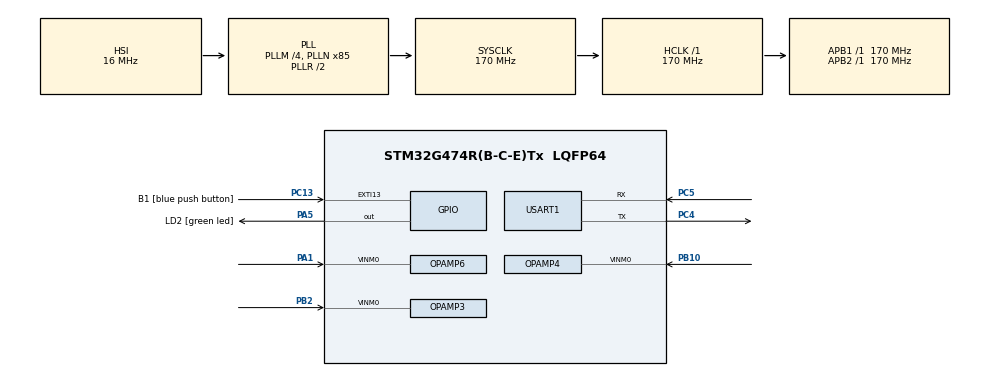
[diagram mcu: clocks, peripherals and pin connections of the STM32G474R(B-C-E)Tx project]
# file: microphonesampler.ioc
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ADC3.Channel-1\#ChannelRegularConversion=ADC_CHANNEL_VOPAMP3_ADC3
ADC3.DMAContinuousRequests=ENABLE
ADC3.ExternalTrigConv=ADC_EXTERNALTRIG_T7_TRGO
ADC3.ExternalTrigConvEdge=ADC_EXTERNALTRIGCONVEDGE_RISINGFALLING
ADC3.NbrOfConversionFlag=1
ADC3.OffsetNumber-1\#ChannelRegularConversion=ADC_OFFSET_NONE
ADC3.OversamplingMode=ENABLE
ADC3.Rank-1\#ChannelRegularConversion=1
ADC3.SamplingTime-1\#ChannelRegularConversion=ADC_SAMPLETIME_2CYCLES_5
ADC3.master=1
ADC4.Channel-2\#ChannelRegularConversion=ADC_CHANNEL_VOPAMP6
ADC4.DMAContinuousRequests=ENABLE
ADC4.ExternalTrigConv=ADC_EXTERNALTRIG_T7_TRGO
ADC4.ExternalTrigConvEdge=ADC_EXTERNALTRIGCONVEDGE_RISINGFALLING
ADC4.NbrOfConversionFlag=1
ADC4.OffsetNumber-2\#ChannelRegularConversion=ADC_OFFSET_NONE
ADC4.OversamplingMode=ENABLE
ADC4.Rank-2\#ChannelRegularConversion=1
ADC4.SamplingTime-2\#ChannelRegularConversion=ADC_SAMPLETIME_2CYCLES_5
ADC5.Channel-5\#ChannelRegularConversion=ADC_CHANNEL_VOPAMP4
ADC5.DMAContinuousRequests=ENABLE
ADC5.ExternalTrigConv=ADC_EXTERNALTRIG_T7_TRGO
ADC5.ExternalTrigConvEdge=ADC_EXTERNALTRIGCONVEDGE_RISINGFALLING
ADC5.NbrOfConversionFlag=1
ADC5.OffsetNumber-5\#ChannelRegularConversion=ADC_OFFSET_NONE
ADC5.OversamplingMode=ENABLE
ADC5.Rank-5\#ChannelRegularConversion=1
ADC5.SamplingTime-5\#ChannelRegularConversion=ADC_SAMPLETIME_2CYCLES_5
DAC3.DAC_Channel-DAC_OUT2_Int=DAC_CHANNEL_2
Dma.ADC3.0.Direction=DMA_PERIPH_TO_MEMORY
Dma.ADC3.0.EventEnable=DISABLE
Dma.ADC3.0.Instance=DMA1_Channel1
Dma.ADC3.0.MemDataAlignment=DMA_MDATAALIGN_WORD
Dma.ADC3.0.MemInc=DMA_MINC_ENABLE
Dma.ADC3.0.Mode=DMA_CIRCULAR
Dma.ADC3.0.PeriphDataAlignment=DMA_PDATAALIGN_HALFWORD
Dma.ADC3.0.PeriphInc=DMA_PINC_DISABLE
Dma.ADC3.0.Polarity=HAL_DMAMUX_REQ_GEN_RISING
Dma.ADC3.0.Priority=DMA_PRIORITY_LOW
Dma.ADC3.0.RequestNumber=1
Dma.ADC3.0.SignalID=NONE
Dma.ADC3.0.SyncEnable=DISABLE
Dma.ADC3.0.SyncPolarity=HAL_DMAMUX_SYNC_NO_EVENT
Dma.ADC3.0.SyncRequestNumber=1
Dma.ADC3.0.SyncSignalID=NONE
Dma.ADC4.1.Direction=DMA_PERIPH_TO_MEMORY
Dma.ADC4.1.EventEnable=DISABLE
Dma.ADC4.1.Instance=DMA1_Channel2
Dma.ADC4.1.MemDataAlignment=DMA_MDATAALIGN_WORD
Dma.ADC4.1.MemInc=DMA_MINC_ENABLE
Dma.ADC4.1.Mode=DMA_CIRCULAR
Dma.ADC4.1.PeriphDataAlignment=DMA_PDATAALIGN_HALFWORD
Dma.ADC4.1.PeriphInc=DMA_PINC_DISABLE
Dma.ADC4.1.Polarity=HAL_DMAMUX_REQ_GEN_RISING
Dma.ADC4.1.Priority=DMA_PRIORITY_LOW
Dma.ADC4.1.RequestNumber=1
Dma.ADC4.1.SignalID=NONE
Dma.ADC4.1.SyncEnable=DISABLE
Dma.ADC4.1.SyncPolarity=HAL_DMAMUX_SYNC_NO_EVENT
Dma.ADC4.1.SyncRequestNumber=1
Dma.ADC4.1.SyncSignalID=NONE
Dma.ADC5.2.Direction=DMA_PERIPH_TO_MEMORY
Dma.ADC5.2.EventEnable=DISABLE
Dma.ADC5.2.Instance=DMA1_Channel3
Dma.ADC5.2.MemDataAlignment=DMA_MDATAALIGN_WORD
Dma.ADC5.2.MemInc=DMA_MINC_ENABLE
Dma.ADC5.2.Mode=DMA_CIRCULAR
Dma.ADC5.2.PeriphDataAlignment=DMA_PDATAALIGN_HALFWORD
Dma.ADC5.2.PeriphInc=DMA_PINC_DISABLE
Dma.ADC5.2.Polarity=HAL_DMAMUX_REQ_GEN_RISING
Dma.ADC5.2.Priority=DMA_PRIORITY_LOW
Dma.ADC5.2.RequestNumber=1
Dma.ADC5.2.SignalID=NONE
Dma.ADC5.2.SyncEnable=DISABLE
Dma.ADC5.2.SyncPolarity=HAL_DMAMUX_SYNC_NO_EVENT
Dma.ADC5.2.SyncRequestNumber=1
Dma.ADC5.2.SyncSignalID=NONE
Dma.Request0=ADC3
Dma.Request1=ADC4
Dma.Request2=ADC5
Mcu.Family=STM32G4
Mcu.Name=STM32G474R(B-C-E)Tx
Mcu.Package=LQFP64
NVIC.DMA1_Channel1_IRQn=true\:0\:0\:false\:false\:true\:false\:true\:true
NVIC.DMA1_Channel2_IRQn=true\:0\:0\:false\:false\:true\:false\:true\:true
NVIC.DMA1_Channel3_IRQn=true\:0\:0\:false\:false\:true\:false\:true\:true
NVIC.EXTI15_10_IRQn=true\:0\:0\:false\:false\:true\:true\:true\:true
NVIC.PriorityGroup=NVIC_PRIORITYGROUP_4
PA1.Mode=PGA_Connected-INVERTINGINPUT_IO0_BIAS-DAC_OUT1-INP_Output_internal
PA1.Signal=OPAMP6_VINM0
PA13.GPIO_Label=T_SWDIO
PA13.Mode=Serial_Wire
PA13.Signal=SYS_JTMS-SWDIO
PA14.GPIO_Label=T_SWCLK
PA14.Mode=Serial_Wire
PA14.Signal=SYS_JTCK-SWCLK
PA2.GPIO_Label=LPUART1_TX [STLINKV3E_VCP_RX]
PA2.Signal=LPUART1_TX
PA3.Signal=LPUART1_RX
PA5.GPIO_Label=LD2 [green led]
PA5.Signal=GPIO_Output
PB10.Mode=PGA_Connected-INVERTINGINPUT_IO0_BIAS-DAC_OUT1-INP_Output_internal
PB10.Signal=OPAMP4_VINM0
PB2.Mode=PGA_Connected-INVERTINGINPUT_IO0_BIAS-DAC_OUT2-INP_Output_internal
PB2.Signal=OPAMP3_VINM0
PB3.GPIO_Label=T_SWO
PB3.Signal=SYS_JTDO-SWO
PC13.GPIO_Label=B1 [blue push button]
PC13.Signal=GPXTI13
PC14-OSC32_IN.Mode=LSE-External-Oscillator
PC14-OSC32_IN.Signal=RCC_OSC32_IN
PC15-OSC32_OUT.Mode=LSE-External-Oscillator
PC15-OSC32_OUT.Signal=RCC_OSC32_OUT
PC4.Mode=Asynchronous
PC4.Signal=USART1_TX
PC5.Mode=Asynchronous
PC5.Signal=USART1_RX
PF0-OSC_IN.Mode=HSE-External-Oscillator
PF0-OSC_IN.Signal=RCC_OSC_IN
PF1-OSC_OUT.Mode=HSE-External-Oscillator
PF1-OSC_OUT.Signal=RCC_OSC_OUT
ProjectManager.HeapSize=0x200
ProjectManager.StackSize=0x400
ProjectManager.TargetToolchain=STM32CubeIDE
RCC.ADC12Freq_Value=170000000
RCC.ADC345Freq_Value=170000000
RCC.AHBFreq_Value=170000000
RCC.APB1Freq_Value=170000000
RCC.APB1TimFreq_Value=170000000
RCC.APB2Freq_Value=170000000
RCC.APB2TimFreq_Value=170000000
RCC.CortexFreq_Value=170000000
RCC.EXTERNAL_CLOCK_VALUE=12288000
RCC.HCLKFreq_Value=170000000
RCC.HSE_VALUE=24000000
RCC.HSI48_VALUE=48000000
RCC.HSI_VALUE=16000000
RCC.PLLM=RCC_PLLM_DIV4
RCC.PLLN=85
RCC.RTCClockSelection=RCC_RTCCLKSOURCE_LSE
RCC.SYSCLKFreq_VALUE=170000000
RCC.SYSCLKSource=RCC_SYSCLKSOURCE_PLLCLK
RCC.USBFreq_Value=170000000
RCC.VCOOutputFreq_Value=340000000
TIM6.Prescaler=170 - 1
TIM7.PeriodNoDither=500 - 1
TIM7.Prescaler=10 - 1
TIM7.TIM_MasterOutputTrigger=TIM_TRGO_UPDATE
USART1.VirtualMode-Asynchronous=VM_ASYNC
VP_ADC3_OPAMP_INTERNAL3.Mode=IN-OPAMP3
VP_ADC4_OPAMP_INTERNAL6.Mode=IN-OPAMP6
VP_ADC5_OPAMP_INTERNAL4.Mode=IN-OPAMP4
VP_DAC3_VS_DACI1.Mode=DAC_OUT1_Int
VP_DAC3_VS_DACI2.Mode=DAC_OUT2_Int
VP_DAC4_VS_DACI1.Mode=DAC_OUT1_Int
VP_SYS_VS_DBSignals.Mode=DisableDeadBatterySignals
VP_TIM6_VS_ClockSourceINT.Mode=Enable_Timer
VP_TIM7_VS_ClockSourceINT.Mode=Enable_Timer
board=NUCLEO-G474RE

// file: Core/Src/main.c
/* USER CODE BEGIN Header */
/**
  ******************************************************************************
  * @file           : main.c
  * @brief          : Main program body
  ******************************************************************************
  * @attention
  *
  * Copyright (c) 2023 STMicroelectronics.
  * All rights reserved.
  *
  * This software is licensed under terms that can be found in the LICENSE file
  * in the root directory of this software component.
  * If no LICENSE file comes with this software, it is provided AS-IS.
  *
  ******************************************************************************
  */
/* USER CODE END Header */
#include "main.h"

/* USER CODE BEGIN Includes */
#include "stdio.h"
#include "stdbool.h"
#include "stdint.h"
#include "stdlib.h"

#include "math.h"
#include "complex.h"

#include "arm_math.h"
#include "arm_const_structs.h"

#include "LinearAlgebra/declareFunctions.h"

//#include "bandpass.h"

/* USER CODE END Includes */

/* USER CODE BEGIN PD */
#define buffer_size 4096
#define signal_size 4096
#define processing_length 1024
#define fs 125000

/* USER CODE END PD */

/* USER CODE BEGIN PM */
#define REAL(z,i) ((z)[2*(i)])
#define IMAG(z,i) ((z)[2*(i)+1])

const int n = signal_size;

/* USER CODE END PM */

ADC_HandleTypeDef hadc3;
ADC_HandleTypeDef hadc4;
ADC_HandleTypeDef hadc5;
DMA_HandleTypeDef hdma_adc3;
DMA_HandleTypeDef hdma_adc4;
DMA_HandleTypeDef hdma_adc5;

DAC_HandleTypeDef hdac3;
DAC_HandleTypeDef hdac4;

OPAMP_HandleTypeDef hopamp3;
OPAMP_HandleTypeDef hopamp4;
OPAMP_HandleTypeDef hopamp6;

TIM_HandleTypeDef htim6;
TIM_HandleTypeDef htim7;

UART_HandleTypeDef huart1;

/* USER CODE BEGIN PV */
uint32_t adc_3_buffer[buffer_size];
uint32_t adc_4_buffer[buffer_size];
uint32_t adc_5_buffer[buffer_size];

uint16_t sample1[buffer_size];
uint16_t sample2[buffer_size];
uint16_t sample3[buffer_size];

uint32_t start, end, dt = 0;
int gt = 0;

uint16_t valadc_1, valadc_2, valadc_3;
uint16_t valdac_1 = 2048;
uint16_t valdac_2 = 2048;
uint16_t valdac_3 = 2048;

int found_index_1 = -1;
int found_index_2 = -1;
int found_index_3 = -1;

uint64_t count = 0;
double avgtime = 0;

char dma_result_buffer[20];

int adc3_current = 0;
int adc4_current = 0;
int adc5_current = 0;

/* USER CODE END PV */

void SystemClock_Config(void);
static void MX_GPIO_Init(void);
static void MX_DMA_Init(void);
static void MX_TIM7_Init(void);
static void MX_TIM6_Init(void);
static void MX_DAC3_Init(void);
static void MX_DAC4_Init(void);
static void MX_OPAMP4_Init(void);
static void MX_OPAMP6_Init(void);
static void MX_ADC5_Init(void);
static void MX_ADC4_Init(void);
static void MX_ADC3_Init(void);
static void MX_OPAMP3_Init(void);
static void MX_USART1_UART_Init(void);

/* USER CODE BEGIN 0 */

arm_rfft_fast_instance_f32 discrete_fourier_transform;
float32_t fft_input[processing_length];
float32_t fft_output[processing_length];

float32_t peakVal;
float32_t peakFreq;
int peakEntry;

float32_t current_val;
float32_t current_freq;
float32_t avg_val;
int freq_count;

bool finished_1 = true;
bool finished_2 = true;
bool finished_3 = true;

int success = 0;
bool found = false;

int missed_samples = 0;

/* USER CODE END 0 */

int main(void)
{
  /* USER CODE BEGIN 1 */
  arm_rfft_fast_init_f32(&discrete_fourier_transform, processing_length);
  //start = htim6.Instance->CNT;

  /* USER CODE END 1 */

  /* MCU Configuration--------------------------------------------------------*/

  /* Reset of all peripherals, Initializes the Flash interface and the Systick. */
  HAL_Init();

  /* Configure the system clock */
  SystemClock_Config();

  /* Initialize all configured peripherals */
  MX_GPIO_Init();
  MX_DMA_Init();
  MX_TIM7_Init();
  MX_TIM6_Init();
  MX_DAC3_Init();
  MX_DAC4_Init();
  MX_OPAMP4_Init();
  MX_OPAMP6_Init();
  MX_ADC5_Init();
  MX_ADC4_Init();
  MX_ADC3_Init();
  MX_OPAMP3_Init();
  MX_USART1_UART_Init();
  /* USER CODE BEGIN 2 */

  HAL_DAC_Start(&hdac3, DAC_CHANNEL_1);
  HAL_OPAMP_Start(&hopamp6);

  HAL_DAC_Start(&hdac3, DAC_CHANNEL_2);
  HAL_OPAMP_Start(&hopamp3);

  HAL_DAC_Start(&hdac4, DAC_CHANNEL_1);
  HAL_OPAMP_Start(&hopamp4);

  HAL_ADCEx_Calibration_Start(&hadc3,ADC_SINGLE_ENDED);
  HAL_ADC_Start_DMA(&hadc3, adc_3_buffer, buffer_size);

  HAL_ADCEx_Calibration_Start(&hadc4,ADC_SINGLE_ENDED);
  HAL_ADC_Start_DMA(&hadc4, adc_4_buffer, buffer_size);

  HAL_ADCEx_Calibration_Start(&hadc5,ADC_SINGLE_ENDED);
  HAL_ADC_Start_DMA(&hadc5, adc_5_buffer, buffer_size);

  HAL_TIM_Base_Start(&htim7);
  HAL_TIM_Base_Start(&htim6);

  /* USER CODE END 2 */

  /* Infinite loop */
  while (1)
  {
	  /* USER CODE END WHILE */
	    HAL_DAC_SetValue(&hdac3, DAC_CHANNEL_1, DAC_ALIGN_12B_R, valdac_1);
	    HAL_DAC_SetValue(&hdac3, DAC_CHANNEL_2, DAC_ALIGN_12B_R, valdac_2);
	    HAL_DAC_SetValue(&hdac4, DAC_CHANNEL_1, DAC_ALIGN_12B_R, valdac_3);

	    if(finished_1 || finished_2 || finished_3){
	      continue;
	    }

	    if(count < 30){
	      finished_1 = true;
	      finished_2 = true;
	      finished_3 = true;
	      continue;
	    }

	    found = false;

	    if(adc3_current == adc4_current && adc3_current == adc5_current){
	    	valadc_1 = sample1[0];
	    	valadc_2 = sample2[0];
	    	valadc_3 = sample3[0];

	    	//Check for frequency of interest in first buffer
	    	//Check in 128-sample increments
	    	for(int i = 0 ; i < buffer_size / processing_length ; i++){
	    		for(int j = 0 ; j < processing_length ; j++){
	    			fft_input[j] = (float32_t) sample1[processing_length * i + j] / 8192.;
	    		}
	    		arm_rfft_fast_f32(&discrete_fourier_transform, fft_input, fft_output, 0);

	    		peakVal = 0;
	    		peakFreq = 0;
	    		freq_count = 0;
	    		avg_val = 0;

	    		//Peak finding
	    		for(int j = 0 ; j < processing_length ; j += 2){
	    			current_freq = (float) (fs * j) / (float) (2 * processing_length) ;
	    			if(current_freq < 8750){
	    				continue;
	    			}

	    			current_val = sqrtf( pow( fft_output[j] , 2. ) + pow( fft_output[j + 1], 2. ) );
	    			avg_val += current_val;
	    			freq_count++;

	    			if(current_val > peakVal){
	    				peakVal = current_val;
	    				peakFreq = current_freq;
	    				peakEntry = j;
	    			}
	    		}

	    		avg_val /= (float) freq_count;

	    		if(peakVal >= 6 && peakFreq > 8750){
	    			//Contains peak sound signal
	    			found = true;
	    			snprintf(dma_result_buffer, 20, "start\r\n");
	    			HAL_UART_Transmit(&huart1, (uint8_t *) dma_result_buffer, sizeof(dma_result_buffer), HAL_MAX_DELAY);
	    			for(int j = 0 ; j < processing_length ; j++){
	    				snprintf(dma_result_buffer, 20, "%.4d %.4d %.4d\r\n", sample1[processing_length * i + j], sample2[processing_length * i + j], sample3[processing_length * i + j]);
	    				HAL_UART_Transmit(&huart1, (uint8_t *) dma_result_buffer, sizeof(dma_result_buffer), HAL_MAX_DELAY);
	    			}

	    			snprintf(dma_result_buffer, 20, "end\r\n");
	    			HAL_UART_Transmit(&huart1, (uint8_t *) dma_result_buffer, sizeof(dma_result_buffer), HAL_MAX_DELAY);

	    			success++;
	    			break;
	    		}
	    	}

	    } else {
	      continue;
	    }

	    /*snprintf(dma_result_buffer, 110, "%.10e %.10e %.10e %.10e %.10e %.10e\r\n", creal(R[0][0]), cimag(R[0][0]), creal(R[0][1]), cimag(R[0][1]), creal(R[0][2]), cimag(R[0][2]));
	    HAL_UART_Transmit(&huart1, (uint8_t *) dma_result_buffer, sizeof(dma_result_buffer), HAL_MAX_DELAY);

	    snprintf(dma_result_buffer, 110, "%.10e %.10e %.10e %.10e %.10e %.10e\r\n", creal(R[1][0]), cimag(R[1][0]), creal(R[1][1]), cimag(R[1][1]), creal(R[1][2]), cimag(R[1][2]));
	    HAL_UART_Transmit(&huart1, (uint8_t *) dma_result_buffer, sizeof(dma_result_buffer), HAL_MAX_DELAY);

	    snprintf(dma_result_buffer, 110, "%.10e %.10e %.10e %.10e %.10e %.10e\r\n", creal(R[2][0]), cimag(R[2][0]), creal(R[2][1]), cimag(R[2][1]), creal(R[2][2]), cimag(R[2][2]));
	    HAL_UART_Transmit(&huart1, (uint8_t *) dma_result_buffer, sizeof(dma_result_buffer), HAL_MAX_DELAY);*/

	    finished_1 = true;
	    finished_2 = true;
	    finished_3 = true;

  }
}

void SystemClock_Config(void)
{
  RCC_OscInitTypeDef RCC_OscInitStruct = {0};
  RCC_ClkInitTypeDef RCC_ClkInitStruct = {0};

  /** Configure the main internal regulator output voltage
  */
  HAL_PWREx_ControlVoltageScaling(PWR_REGULATOR_VOLTAGE_SCALE1_BOOST);

  /** Initializes the RCC Oscillators according to the specified parameters
  * in the RCC_OscInitTypeDef structure.
  */
  RCC_OscInitStruct.OscillatorType = RCC_OSCILLATORTYPE_HSI;
  RCC_OscInitStruct.HSIState = RCC_HSI_ON;
  RCC_OscInitStruct.HSICalibrationValue = RCC_HSICALIBRATION_DEFAULT;
  RCC_OscInitStruct.PLL.PLLState = RCC_PLL_ON;
  RCC_OscInitStruct.PLL.PLLSource = RCC_PLLSOURCE_HSI;
  RCC_OscInitStruct.PLL.PLLM = RCC_PLLM_DIV4;
  RCC_OscInitStruct.PLL.PLLN = 85;
  RCC_OscInitStruct.PLL.PLLP = RCC_PLLP_DIV2;
  RCC_OscInitStruct.PLL.PLLQ = RCC_PLLQ_DIV2;
  RCC_OscInitStruct.PLL.PLLR = RCC_PLLR_DIV2;
  if (HAL_RCC_OscConfig(&RCC_OscInitStruct) != HAL_OK)
  {
    Error_Handler();
  }

  /** Initializes the CPU, AHB and APB buses clocks
  */
  RCC_ClkInitStruct.ClockType = RCC_CLOCKTYPE_HCLK|RCC_CLOCKTYPE_SYSCLK
                              |RCC_CLOCKTYPE_PCLK1|RCC_CLOCKTYPE_PCLK2;
  RCC_ClkInitStruct.SYSCLKSource = RCC_SYSCLKSOURCE_PLLCLK;
  RCC_ClkInitStruct.AHBCLKDivider = RCC_SYSCLK_DIV1;
  RCC_ClkInitStruct.APB1CLKDivider = RCC_HCLK_DIV1;
  RCC_ClkInitStruct.APB2CLKDivider = RCC_HCLK_DIV1;

  if (HAL_RCC_ClockConfig(&RCC_ClkInitStruct, FLASH_LATENCY_4) != HAL_OK)
  {
    Error_Handler();
  }
}

static void MX_ADC3_Init(void)
{

  ADC_MultiModeTypeDef multimode = {0};
  ADC_ChannelConfTypeDef sConfig = {0};

  /** Common config
  */
  hadc3.Instance = ADC3;
  hadc3.Init.ClockPrescaler = ADC_CLOCK_SYNC_PCLK_DIV4;
  hadc3.Init.Resolution = ADC_RESOLUTION_12B;
  hadc3.Init.DataAlign = ADC_DATAALIGN_RIGHT;
  hadc3.Init.GainCompensation = 0;
  hadc3.Init.ScanConvMode = ADC_SCAN_DISABLE;
  hadc3.Init.EOCSelection = ADC_EOC_SINGLE_CONV;
  hadc3.Init.LowPowerAutoWait = DISABLE;
  hadc3.Init.ContinuousConvMode = DISABLE;
  hadc3.Init.NbrOfConversion = 1;
  hadc3.Init.DiscontinuousConvMode = DISABLE;
  hadc3.Init.ExternalTrigConv = ADC_EXTERNALTRIG_T7_TRGO;
  hadc3.Init.ExternalTrigConvEdge = ADC_EXTERNALTRIGCONVEDGE_RISINGFALLING;
  hadc3.Init.DMAContinuousRequests = ENABLE;
  hadc3.Init.Overrun = ADC_OVR_DATA_PRESERVED;
  hadc3.Init.OversamplingMode = ENABLE;
  hadc3.Init.Oversampling.Ratio = ADC_OVERSAMPLING_RATIO_2;
  hadc3.Init.Oversampling.RightBitShift = ADC_RIGHTBITSHIFT_NONE;
  hadc3.Init.Oversampling.TriggeredMode = ADC_TRIGGEREDMODE_SINGLE_TRIGGER;
  hadc3.Init.Oversampling.OversamplingStopReset = ADC_REGOVERSAMPLING_CONTINUED_MODE;
  if (HAL_ADC_Init(&hadc3) != HAL_OK)
  {
    Error_Handler();
  }

  /** Configure the ADC multi-mode
  */
  multimode.Mode = ADC_MODE_INDEPENDENT;
  if (HAL_ADCEx_MultiModeConfigChannel(&hadc3, &multimode) != HAL_OK)
  {
    Error_Handler();
  }

  /** Configure Regular Channel
  */
  sConfig.Channel = ADC_CHANNEL_VOPAMP3_ADC3;
  sConfig.Rank = ADC_REGULAR_RANK_1;
  sConfig.SamplingTime = ADC_SAMPLETIME_2CYCLES_5;
  sConfig.SingleDiff = ADC_SINGLE_ENDED;
  sConfig.OffsetNumber = ADC_OFFSET_NONE;
  sConfig.Offset = 0;
  if (HAL_ADC_ConfigChannel(&hadc3, &sConfig) != HAL_OK)
  {
    Error_Handler();
  }

}

static void MX_ADC4_Init(void)
{

  ADC_ChannelConfTypeDef sConfig = {0};

  /** Common config
  */
  hadc4.Instance = ADC4;
  hadc4.Init.ClockPrescaler = ADC_CLOCK_SYNC_PCLK_DIV4;
  hadc4.Init.Resolution = ADC_RESOLUTION_12B;
  hadc4.Init.DataAlign = ADC_DATAALIGN_RIGHT;
  hadc4.Init.GainCompensation = 0;
  hadc4.Init.ScanConvMode = ADC_SCAN_DISABLE;
  hadc4.Init.EOCSelection = ADC_EOC_SINGLE_CONV;
  hadc4.Init.LowPowerAutoWait = DISABLE;
  hadc4.Init.ContinuousConvMode = DISABLE;
  hadc4.Init.NbrOfConversion = 1;
  hadc4.Init.DiscontinuousConvMode = DISABLE;
  hadc4.Init.ExternalTrigConv = ADC_EXTERNALTRIG_T7_TRGO;
  hadc4.Init.ExternalTrigConvEdge = ADC_EXTERNALTRIGCONVEDGE_RISINGFALLING;
  hadc4.Init.DMAContinuousRequests = ENABLE;
  hadc4.Init.Overrun = ADC_OVR_DATA_PRESERVED;
  hadc4.Init.OversamplingMode = ENABLE;
  hadc4.Init.Oversampling.Ratio = ADC_OVERSAMPLING_RATIO_2;
  hadc4.Init.Oversampling.RightBitShift = ADC_RIGHTBITSHIFT_NONE;
  hadc4.Init.Oversampling.TriggeredMode = ADC_TRIGGEREDMODE_SINGLE_TRIGGER;
  hadc4.Init.Oversampling.OversamplingStopReset = ADC_REGOVERSAMPLING_CONTINUED_MODE;
  if (HAL_ADC_Init(&hadc4) != HAL_OK)
  {
    Error_Handler();
  }

  /** Configure Regular Channel
  */
  sConfig.Channel = ADC_CHANNEL_VOPAMP6;
  sConfig.Rank = ADC_REGULAR_RANK_1;
  sConfig.SamplingTime = ADC_SAMPLETIME_2CYCLES_5;
  sConfig.SingleDiff = ADC_SINGLE_ENDED;
  sConfig.OffsetNumber = ADC_OFFSET_NONE;
  sConfig.Offset = 0;
  if (HAL_ADC_ConfigChannel(&hadc4, &sConfig) != HAL_OK)
  {
    Error_Handler();
  }

}

static void MX_ADC5_Init(void)
{

  ADC_ChannelConfTypeDef sConfig = {0};

  /** Common config
  */
  hadc5.Instance = ADC5;
  hadc5.Init.ClockPrescaler = ADC_CLOCK_SYNC_PCLK_DIV4;
  hadc5.Init.Resolution = ADC_RESOLUTION_12B;
  hadc5.Init.DataAlign = ADC_DATAALIGN_RIGHT;
  hadc5.Init.GainCompensation = 0;
  hadc5.Init.ScanConvMode = ADC_SCAN_DISABLE;
  hadc5.Init.EOCSelection = ADC_EOC_SINGLE_CONV;
  hadc5.Init.LowPowerAutoWait = DISABLE;
  hadc5.Init.ContinuousConvMode = DISABLE;
  hadc5.Init.NbrOfConversion = 1;
  hadc5.Init.DiscontinuousConvMode = DISABLE;
  hadc5.Init.ExternalTrigConv = ADC_EXTERNALTRIG_T7_TRGO;
  hadc5.Init.ExternalTrigConvEdge = ADC_EXTERNALTRIGCONVEDGE_RISINGFALLING;
  hadc5.Init.DMAContinuousRequests = ENABLE;
  hadc5.Init.Overrun = ADC_OVR_DATA_PRESERVED;
  hadc5.Init.OversamplingMode = ENABLE;
  hadc5.Init.Oversampling.Ratio = ADC_OVERSAMPLING_RATIO_2;
  hadc5.Init.Oversampling.RightBitShift = ADC_RIGHTBITSHIFT_NONE;
  hadc5.Init.Oversampling.TriggeredMode = ADC_TRIGGEREDMODE_SINGLE_TRIGGER;
  hadc5.Init.Oversampling.OversamplingStopReset = ADC_REGOVERSAMPLING_CONTINUED_MODE;
  if (HAL_ADC_Init(&hadc5) != HAL_OK)
  {
    Error_Handler();
  }

  /** Configure Regular Channel
  */
  sConfig.Channel = ADC_CHANNEL_VOPAMP4;
  sConfig.Rank = ADC_REGULAR_RANK_1;
  sConfig.SamplingTime = ADC_SAMPLETIME_2CYCLES_5;
  sConfig.SingleDiff = ADC_SINGLE_ENDED;
  sConfig.OffsetNumber = ADC_OFFSET_NONE;
  sConfig.Offset = 0;
  if (HAL_ADC_ConfigChannel(&hadc5, &sConfig) != HAL_OK)
  {
    Error_Handler();
  }

}

static void MX_DAC3_Init(void)
{

  DAC_ChannelConfTypeDef sConfig = {0};

  /** DAC Initialization
  */
  hdac3.Instance = DAC3;
  if (HAL_DAC_Init(&hdac3) != HAL_OK)
  {
    Error_Handler();
  }

  /** DAC channel OUT1 config
  */
  sConfig.DAC_HighFrequency = DAC_HIGH_FREQUENCY_INTERFACE_MODE_AUTOMATIC;
  sConfig.DAC_DMADoubleDataMode = DISABLE;
  sConfig.DAC_SignedFormat = DISABLE;
  sConfig.DAC_SampleAndHold = DAC_SAMPLEANDHOLD_DISABLE;
  sConfig.DAC_Trigger = DAC_TRIGGER_NONE;
  sConfig.DAC_Trigger2 = DAC_TRIGGER_NONE;
  sConfig.DAC_OutputBuffer = DAC_OUTPUTBUFFER_DISABLE;
  sConfig.DAC_ConnectOnChipPeripheral = DAC_CHIPCONNECT_INTERNAL;
  sConfig.DAC_UserTrimming = DAC_TRIMMING_FACTORY;
  if (HAL_DAC_ConfigChannel(&hdac3, &sConfig, DAC_CHANNEL_1) != HAL_OK)
  {
    Error_Handler();
  }

  /** DAC channel OUT2 config
  */
  if (HAL_DAC_ConfigChannel(&hdac3, &sConfig, DAC_CHANNEL_2) != HAL_OK)
  {
    Error_Handler();
  }

}

static void MX_DAC4_Init(void)
{

  DAC_ChannelConfTypeDef sConfig = {0};

  /** DAC Initialization
  */
  hdac4.Instance = DAC4;
  if (HAL_DAC_Init(&hdac4) != HAL_OK)
  {
    Error_Handler();
  }

  /** DAC channel OUT1 config
  */
  sConfig.DAC_HighFrequency = DAC_HIGH_FREQUENCY_INTERFACE_MODE_AUTOMATIC;
  sConfig.DAC_DMADoubleDataMode = DISABLE;
  sConfig.DAC_SignedFormat = DISABLE;
  sConfig.DAC_SampleAndHold = DAC_SAMPLEANDHOLD_DISABLE;
  sConfig.DAC_Trigger = DAC_TRIGGER_NONE;
  sConfig.DAC_Trigger2 = DAC_TRIGGER_NONE;
  sConfig.DAC_OutputBuffer = DAC_OUTPUTBUFFER_DISABLE;
  sConfig.DAC_ConnectOnChipPeripheral = DAC_CHIPCONNECT_INTERNAL;
  sConfig.DAC_UserTrimming = DAC_TRIMMING_FACTORY;
  if (HAL_DAC_ConfigChannel(&hdac4, &sConfig, DAC_CHANNEL_1) != HAL_OK)
  {
    Error_Handler();
  }

}

static void MX_OPAMP3_Init(void)
{

  hopamp3.Instance = OPAMP3;
  hopamp3.Init.PowerMode = OPAMP_POWERMODE_NORMALSPEED;
  hopamp3.Init.Mode = OPAMP_PGA_MODE;
  hopamp3.Init.NonInvertingInput = OPAMP_NONINVERTINGINPUT_DAC;
  hopamp3.Init.InternalOutput = ENABLE;
  hopamp3.Init.TimerControlledMuxmode = OPAMP_TIMERCONTROLLEDMUXMODE_DISABLE;
  hopamp3.Init.PgaConnect = OPAMP_PGA_CONNECT_INVERTINGINPUT_IO0_BIAS;
  hopamp3.Init.PgaGain = OPAMP_PGA_GAIN_16_OR_MINUS_15;
  hopamp3.Init.UserTrimming = OPAMP_TRIMMING_FACTORY;
  if (HAL_OPAMP_Init(&hopamp3) != HAL_OK)
  {
    Error_Handler();
  }

}

static void MX_OPAMP4_Init(void)
{

  hopamp4.Instance = OPAMP4;
  hopamp4.Init.PowerMode = OPAMP_POWERMODE_NORMALSPEED;
  hopamp4.Init.Mode = OPAMP_PGA_MODE;
  hopamp4.Init.NonInvertingInput = OPAMP_NONINVERTINGINPUT_DAC;
  hopamp4.Init.InternalOutput = ENABLE;
  hopamp4.Init.TimerControlledMuxmode = OPAMP_TIMERCONTROLLEDMUXMODE_DISABLE;
  hopamp4.Init.PgaConnect = OPAMP_PGA_CONNECT_INVERTINGINPUT_IO0_BIAS;
  hopamp4.Init.PgaGain = OPAMP_PGA_GAIN_16_OR_MINUS_15;
  hopamp4.Init.UserTrimming = OPAMP_TRIMMING_FACTORY;
  if (HAL_OPAMP_Init(&hopamp4) != HAL_OK)
  {
    Error_Handler();
  }

}

static void MX_OPAMP6_Init(void)
{

  hopamp6.Instance = OPAMP6;
  hopamp6.Init.PowerMode = OPAMP_POWERMODE_NORMALSPEED;
  hopamp6.Init.Mode = OPAMP_PGA_MODE;
  hopamp6.Init.NonInvertingInput = OPAMP_NONINVERTINGINPUT_DAC;
  hopamp6.Init.InternalOutput = ENABLE;
  hopamp6.Init.TimerControlledMuxmode = OPAMP_TIMERCONTROLLEDMUXMODE_DISABLE;
  hopamp6.Init.PgaConnect = OPAMP_PGA_CONNECT_INVERTINGINPUT_IO0_BIAS;
  hopamp6.Init.PgaGain = OPAMP_PGA_GAIN_16_OR_MINUS_15;
  hopamp6.Init.UserTrimming = OPAMP_TRIMMING_FACTORY;
  if (HAL_OPAMP_Init(&hopamp6) != HAL_OK)
  {
    Error_Handler();
  }

}

static void MX_TIM6_Init(void)
{

  TIM_MasterConfigTypeDef sMasterConfig = {0};

  htim6.Instance = TIM6;
  htim6.Init.Prescaler = 170 - 1;
  htim6.Init.CounterMode = TIM_COUNTERMODE_UP;
  htim6.Init.Period = 65535;
  htim6.Init.AutoReloadPreload = TIM_AUTORELOAD_PRELOAD_DISABLE;
  if (HAL_TIM_Base_Init(&htim6) != HAL_OK)
  {
    Error_Handler();
  }
  sMasterConfig.MasterOutputTrigger = TIM_TRGO_RESET;
  sMasterConfig.MasterSlaveMode = TIM_MASTERSLAVEMODE_DISABLE;
  if (HAL_TIMEx_MasterConfigSynchronization(&htim6, &sMasterConfig) != HAL_OK)
  {
    Error_Handler();
  }

}

static void MX_TIM7_Init(void)
{

  TIM_MasterConfigTypeDef sMasterConfig = {0};

  htim7.Instance = TIM7;
  htim7.Init.Prescaler = 10 - 1;
  htim7.Init.CounterMode = TIM_COUNTERMODE_UP;
  htim7.Init.Period = 136 - 1;
  htim7.Init.AutoReloadPreload = TIM_AUTORELOAD_PRELOAD_DISABLE;
  if (HAL_TIM_Base_Init(&htim7) != HAL_OK)
  {
    Error_Handler();
  }
  sMasterConfig.MasterOutputTrigger = TIM_TRGO_UPDATE;
  sMasterConfig.MasterSlaveMode = TIM_MASTERSLAVEMODE_DISABLE;
  if (HAL_TIMEx_MasterConfigSynchronization(&htim7, &sMasterConfig) != HAL_OK)
  {
    Error_Handler();
  }

}

static void MX_USART1_UART_Init(void)
{

  huart1.Instance = USART1;
  huart1.Init.BaudRate = 921600;
  huart1.Init.WordLength = UART_WORDLENGTH_8B;
  huart1.Init.StopBits = UART_STOPBITS_1;
  huart1.Init.Parity = UART_PARITY_NONE;
  huart1.Init.Mode = UART_MODE_TX_RX;
  huart1.Init.HwFlowCtl = UART_HWCONTROL_NONE;
  huart1.Init.OverSampling = UART_OVERSAMPLING_16;
  huart1.Init.OneBitSampling = UART_ONE_BIT_SAMPLE_DISABLE;
  huart1.Init.ClockPrescaler = UART_PRESCALER_DIV1;
  huart1.AdvancedInit.AdvFeatureInit = UART_ADVFEATURE_NO_INIT;
  if (HAL_UART_Init(&huart1) != HAL_OK)
  {
    Error_Handler();
  }
  if (HAL_UARTEx_SetTxFifoThreshold(&huart1, UART_TXFIFO_THRESHOLD_1_8) != HAL_OK)
  {
    Error_Handler();
  }
  if (HAL_UARTEx_SetRxFifoThreshold(&huart1, UART_RXFIFO_THRESHOLD_1_8) != HAL_OK)
  {
    Error_Handler();
  }
  if (HAL_UARTEx_DisableFifoMode(&huart1) != HAL_OK)
  {
    Error_Handler();
  }

}

static void MX_DMA_Init(void)
{

  /* DMA controller clock enable */
  __HAL_RCC_DMAMUX1_CLK_ENABLE();
  __HAL_RCC_DMA1_CLK_ENABLE();

  /* DMA interrupt init */
  /* DMA1_Channel1_IRQn interrupt configuration */
  HAL_NVIC_SetPriority(DMA1_Channel1_IRQn, 0, 0);
  HAL_NVIC_EnableIRQ(DMA1_Channel1_IRQn);
  /* DMA1_Channel2_IRQn interrupt configuration */
  HAL_NVIC_SetPriority(DMA1_Channel2_IRQn, 0, 0);
  HAL_NVIC_EnableIRQ(DMA1_Channel2_IRQn);
  /* DMA1_Channel3_IRQn interrupt configuration */
  HAL_NVIC_SetPriority(DMA1_Channel3_IRQn, 0, 0);
  HAL_NVIC_EnableIRQ(DMA1_Channel3_IRQn);

}

static void MX_GPIO_Init(void)
{
  GPIO_InitTypeDef GPIO_InitStruct = {0};

  /* GPIO Ports Clock Enable */
  __HAL_RCC_GPIOC_CLK_ENABLE();
  __HAL_RCC_GPIOF_CLK_ENABLE();
  __HAL_RCC_GPIOA_CLK_ENABLE();
  __HAL_RCC_GPIOB_CLK_ENABLE();

  /*Configure GPIO pin Output Level */
  HAL_GPIO_WritePin(LD2_GPIO_Port, LD2_Pin, GPIO_PIN_RESET);

  /*Configure GPIO pin : B1_Pin */
  GPIO_InitStruct.Pin = B1_Pin;
  GPIO_InitStruct.Mode = GPIO_MODE_IT_RISING;
  GPIO_InitStruct.Pull = GPIO_NOPULL;
  HAL_GPIO_Init(B1_GPIO_Port, &GPIO_InitStruct);

  /*Configure GPIO pins : LPUART1_TX_Pin PA3 */
  GPIO_InitStruct.Pin = LPUART1_TX_Pin|GPIO_PIN_3;
  GPIO_InitStruct.Mode = GPIO_MODE_AF_PP;
  GPIO_InitStruct.Pull = GPIO_NOPULL;
  GPIO_InitStruct.Speed = GPIO_SPEED_FREQ_LOW;
  GPIO_InitStruct.Alternate = GPIO_AF12_LPUART1;
  HAL_GPIO_Init(GPIOA, &GPIO_InitStruct);

  /*Configure GPIO pin : LD2_Pin */
  GPIO_InitStruct.Pin = LD2_Pin;
  GPIO_InitStruct.Mode = GPIO_MODE_OUTPUT_PP;
  GPIO_InitStruct.Pull = GPIO_NOPULL;
  GPIO_InitStruct.Speed = GPIO_SPEED_FREQ_LOW;
  HAL_GPIO_Init(LD2_GPIO_Port, &GPIO_InitStruct);

  /* EXTI interrupt init*/
  HAL_NVIC_SetPriority(EXTI15_10_IRQn, 0, 0);
  HAL_NVIC_EnableIRQ(EXTI15_10_IRQn);

}

/* USER CODE BEGIN 4 */
void HAL_ADC_ConvHalfCpltCallback(ADC_HandleTypeDef* hadc){
  start = htim6.Instance->CNT;
}

void HAL_ADC_ConvCpltCallback(ADC_HandleTypeDef* hadc){
  end = htim6.Instance->CNT;
  if(end > start){
    dt = end - start;
    count++;
    avgtime = ( ( ( (count - 1)  * avgtime) + dt ) / (float) count);
  }

  if(finished_1 && hadc == &hadc3){
	  adc3_current++;
	  //Not using memcpy because we want to convert to 16-bit unsigned int
	  //memcpy(sample1, adc_3_buffer, sizeof(adc_3_buffer));
	  for(int i = 0 ; i < buffer_size ; i++){
		  sample1[i] = (uint16_t) adc_3_buffer[i];
	  }

	  finished_1 = false;
  } else if(finished_2 && hadc == &hadc4){
	  adc4_current++;
	  for(int i = 0 ; i < buffer_size ; i++){
		  sample2[i] = (uint16_t) adc_4_buffer[i];
	  }

	  finished_2 = false;
  } else if(finished_3 && hadc == &hadc5){
	  adc5_current++;

	  for(int i = 0 ; i < buffer_size ; i++){
		  sample3[i] = (uint16_t) adc_5_buffer[i];
	  }

	  finished_3 = false;
  } else if(count > 30){
	  missed_samples++;
  }
}
/* USER CODE END 4 */

void Error_Handler(void)
{
  __disable_irq();
  while (1)
  {
  }
}
